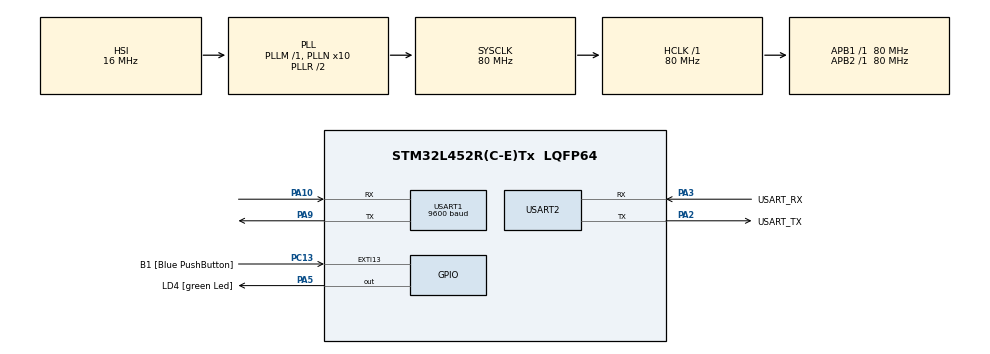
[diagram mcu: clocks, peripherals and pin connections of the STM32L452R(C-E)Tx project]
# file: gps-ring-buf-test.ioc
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Mcu.Family=STM32L4
Mcu.Name=STM32L452R(C-E)Tx
Mcu.Package=LQFP64
NVIC.PriorityGroup=NVIC_PRIORITYGROUP_4
NVIC.USART1_IRQn=true\:0\:0\:false\:false\:true\:true\:true\:true
NVIC.USART2_IRQn=true\:0\:0\:false\:false\:true\:true\:true\:true
PA10.Mode=Asynchronous
PA10.Signal=USART1_RX
PA13\ (JTMS/SWDIO).GPIO_Label=TMS
PA13\ (JTMS/SWDIO).Mode=Serial_Wire
PA13\ (JTMS/SWDIO).Signal=SYS_JTMS-SWDIO
PA14\ (JTCK/SWCLK).GPIO_Label=TCK
PA14\ (JTCK/SWCLK).Mode=Serial_Wire
PA14\ (JTCK/SWCLK).Signal=SYS_JTCK-SWCLK
PA2.GPIO_Label=USART_TX
PA2.GPIO_Mode=GPIO_MODE_AF_PP
PA2.GPIO_PuPd=GPIO_NOPULL
PA2.GPIO_Speed=GPIO_SPEED_FREQ_VERY_HIGH
PA2.Mode=Asynchronous
PA2.Signal=USART2_TX
PA3.GPIO_Label=USART_RX
PA3.GPIO_Mode=GPIO_MODE_AF_PP
PA3.GPIO_PuPd=GPIO_NOPULL
PA3.GPIO_Speed=GPIO_SPEED_FREQ_VERY_HIGH
PA3.Mode=Asynchronous
PA3.Signal=USART2_RX
PA5.GPIO_Label=LD4 [green Led]
PA5.GPIO_ModeDefaultOutputPP=GPIO_MODE_OUTPUT_PP
PA5.GPIO_PuPd=GPIO_NOPULL
PA5.GPIO_Speed=GPIO_SPEED_FREQ_LOW
PA5.Signal=GPIO_Output
PA9.Mode=Asynchronous
PA9.Signal=USART1_TX
PB3\ (JTDO/TRACESWO).GPIO_Label=SWO
PB3\ (JTDO/TRACESWO).Signal=SYS_JTDO-SWO
PC13.GPIO_Label=B1 [Blue PushButton]
PC13.GPIO_ModeDefaultEXTI=GPIO_MODE_IT_FALLING
PC13.GPIO_PuPd=GPIO_NOPULL
PC13.Signal=GPXTI13
PC14-OSC32_IN\ (PC14).Mode=LSE-External-Oscillator
PC14-OSC32_IN\ (PC14).Signal=RCC_OSC32_IN
PC15-OSC32_OUT\ (PC15).Mode=LSE-External-Oscillator
PC15-OSC32_OUT\ (PC15).Signal=RCC_OSC32_OUT
PH0-OSC_IN\ (PH0).Signal=RCC_OSC_IN
PH1-OSC_OUT\ (PH1).Signal=RCC_OSC_OUT
ProjectManager.HeapSize=0x200
ProjectManager.StackSize=0x400
ProjectManager.TargetToolchain=STM32CubeIDE
RCC.ADCFreq_Value=64000000
RCC.AHBFreq_Value=80000000
RCC.APB1Freq_Value=80000000
RCC.APB1TimFreq_Value=80000000
RCC.APB2Freq_Value=80000000
RCC.APB2TimFreq_Value=80000000
RCC.CortexFreq_Value=80000000
RCC.HCLKFreq_Value=80000000
RCC.HSE_VALUE=8000000
RCC.HSI48_VALUE=48000000
RCC.HSI_VALUE=16000000
RCC.MSI_VALUE=4000000
RCC.PLLN=10
RCC.PLLSourceVirtual=RCC_PLLSOURCE_HSI
RCC.PREFETCH_ENABLE=1
RCC.SYSCLKFreq_VALUE=80000000
RCC.SYSCLKSource=RCC_SYSCLKSOURCE_PLLCLK
RCC.USBFreq_Value=64000000
RCC.VCOOutputFreq_Value=160000000
USART1.BaudRate=9600
USART1.VirtualMode-Asynchronous=VM_ASYNC
USART2.VirtualMode-Asynchronous=VM_ASYNC
board=NUCLEO-L452RE

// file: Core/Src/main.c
/* USER CODE BEGIN Header */
/**
  ******************************************************************************
  * @file           : main.c
  * @brief          : Main program body
  ******************************************************************************
  * @attention
  *
  * Copyright (c) 2023 STMicroelectronics.
  * All rights reserved.
  *
  * This software is licensed under terms that can be found in the LICENSE file
  * in the root directory of this software component.
  * If no LICENSE file comes with this software, it is provided AS-IS.
  *
  ******************************************************************************
  * Works - gets GPS data in gpsData struct (see in Live Expressions)
  * Celine Kwan
  */
/* USER CODE END Header */
#include "main.h"

/* USER CODE BEGIN Includes */
#include <stdio.h>
#include <string.h>

#include "uartRingBuffer.h"
#include "NMEA.h"
/* USER CODE END Includes */

UART_HandleTypeDef huart1;
UART_HandleTypeDef huart2;

void SystemClock_Config(void);
static void MX_GPIO_Init(void);
static void MX_USART1_UART_Init(void);
static void MX_USART2_UART_Init(void);

/* USER CODE BEGIN 0 */
char GGA[100];
//char GGA[] = "GGA,092750.000,5321.6802,N,00630.3372,W,1,8,1.03,61.7,M,55.2,M,,*";
char RMC[100];
//char RMC[] = "RMC,092751.000,A,5321.6802,N,00630.3371,W,0.06,31.66,280511,,,A*";

GPSSTRUCT gpsData;

GGASTRUCT *gga = &gpsData.ggastruct;
float lat = 0; // write to EEPROM
float lng = 0;
RMCSTRUCT *rmc = &gpsData.rmcstruct;
int gps_year = 0;
int gps_month = 0;
int gps_day = 0;
int gps_hour = 0;
int gps_minutes = 0;
int gps_seconds = 0;
char print_buf[100] = {0};

/* USER CODE END 0 */

int main(void)
{

  /* MCU Configuration--------------------------------------------------------*/

  /* Reset of all peripherals, Initializes the Flash interface and the Systick. */
  HAL_Init();

  /* Configure the system clock */
  SystemClock_Config();

  /* Initialize all configured peripherals */
  MX_GPIO_Init();
  MX_USART1_UART_Init();
  MX_USART2_UART_Init();
  /* USER CODE BEGIN 2 */
  Ringbuf_init();
//  HAL_Delay(500);
  uint32_t microsReady, microsCurrent; // unsigned long
  microsReady = 30000; // 30s
  int flag = 0;
  /* USER CODE END 2 */

  /* Infinite loop */
  while (1)
  {

    /* USER CODE BEGIN 3 */

//	  ========== Part 1 Code ==================================
	  if (Wait_for("GG") == 1) { // "GPGGA" - need "A" for decodeGGA to work properly
		  Copy_upto("*", GGA); // 1=successful copy
		  decodeGGA(GGA,&gpsData.ggastruct); // 0=fixed; 1=error
	  }

	  if (Wait_for("RM") == 1) { // "GPRMC" - need "C" for decodeRMC to work properly
		  Copy_upto("*", RMC); // 1=successful copy
		  decodeRMC(RMC,&gpsData.rmcstruct); // 0=fixed; 1=error
	  }

	  lat = gga->lcation.latitude;
	  lng = gga->lcation.longitude;

	  gps_year = rmc->date.Yr; /*!< Years. All values are valid */
	  gps_month = rmc->date.Mon; /*!< Months. Valid values : 1 (January) - 12 (December) */
	  gps_day = rmc->date.Day; /*!< Days. Valid values 1 - 28,29,30,31 Depends on month.*/
	  gps_hour = gga->tim.hour; /*!< Hours. Valid values 0 - 23. */
	  gps_minutes = gga->tim.min; /*!< Minutes. Valid values 0 - 59. */
	  gps_seconds = gga->tim.sec; /*!< Seconds. Valid values 0 - 59.99999.... */

	  sprintf(print_buf,"\r\n\n lat/lng: %.4f/%.4f\n mm/dd/yy: %d/%d/%d\n hh/mm/ss: %d/%d/%d",
			  lat,lng,gps_year,gps_month,gps_day,gps_hour,gps_minutes,gps_seconds);
	  HAL_UART_Transmit(&huart2, (uint8_t*)print_buf, sizeof(print_buf),10);

	  microsCurrent = HAL_GetTick();
	  char ready_msg[] = "\r\n *********GPS data is stable and ready for reading.";
	  if ( (microsCurrent >= microsReady) && (flag == 0) ) { // 30s
		  flag = 1;
		  HAL_UART_Transmit(&huart2, (uint8_t*)ready_msg, sizeof(ready_msg), 10);
	  }
	  // check if time is still incrementing

//
//	  HAL_Delay(100);

//	  ========== 1. Wait_for working ==================================
//	  char str1[] = "\r\n Not detected";
//	  char str2[] = "\r\n Detected";
//
//	  if (Wait_for("GGA") == 1) {
//		  HAL_UART_Transmit(&huart2, (uint8_t*)str2, sizeof(str2), 10);
//	  } else {
//		  HAL_UART_Transmit(&huart2, (uint8_t*)str1, sizeof(str1), 10);
//	  }
//
//	  HAL_Delay(100);

//	  ========== 2. decodeGGA and decodeRMC function working ==================================
//		int value_1 = decodeGGA(GGA,&gpsData.ggastruct);
//		int value_2 = decodeRMC(RMC,&gpsData.rmcstruct);
//
//		int value_3 = decodeGGA(GGA,&gpsData.ggastruct);
//		int value_4 = decodeRMC(RMC,&gpsData.rmcstruct);

  }
  /* USER CODE END 3 */
}

void SystemClock_Config(void)
{
  RCC_OscInitTypeDef RCC_OscInitStruct = {0};
  RCC_ClkInitTypeDef RCC_ClkInitStruct = {0};

  /** Configure the main internal regulator output voltage
  */
  if (HAL_PWREx_ControlVoltageScaling(PWR_REGULATOR_VOLTAGE_SCALE1) != HAL_OK)
  {
    Error_Handler();
  }

  /** Initializes the RCC Oscillators according to the specified parameters
  * in the RCC_OscInitTypeDef structure.
  */
  RCC_OscInitStruct.OscillatorType = RCC_OSCILLATORTYPE_HSI;
  RCC_OscInitStruct.HSIState = RCC_HSI_ON;
  RCC_OscInitStruct.HSICalibrationValue = RCC_HSICALIBRATION_DEFAULT;
  RCC_OscInitStruct.PLL.PLLState = RCC_PLL_ON;
  RCC_OscInitStruct.PLL.PLLSource = RCC_PLLSOURCE_HSI;
  RCC_OscInitStruct.PLL.PLLM = 1;
  RCC_OscInitStruct.PLL.PLLN = 10;
  RCC_OscInitStruct.PLL.PLLP = RCC_PLLP_DIV7;
  RCC_OscInitStruct.PLL.PLLQ = RCC_PLLQ_DIV2;
  RCC_OscInitStruct.PLL.PLLR = RCC_PLLR_DIV2;
  if (HAL_RCC_OscConfig(&RCC_OscInitStruct) != HAL_OK)
  {
    Error_Handler();
  }

  /** Initializes the CPU, AHB and APB buses clocks
  */
  RCC_ClkInitStruct.ClockType = RCC_CLOCKTYPE_HCLK|RCC_CLOCKTYPE_SYSCLK
                              |RCC_CLOCKTYPE_PCLK1|RCC_CLOCKTYPE_PCLK2;
  RCC_ClkInitStruct.SYSCLKSource = RCC_SYSCLKSOURCE_PLLCLK;
  RCC_ClkInitStruct.AHBCLKDivider = RCC_SYSCLK_DIV1;
  RCC_ClkInitStruct.APB1CLKDivider = RCC_HCLK_DIV1;
  RCC_ClkInitStruct.APB2CLKDivider = RCC_HCLK_DIV1;

  if (HAL_RCC_ClockConfig(&RCC_ClkInitStruct, FLASH_LATENCY_4) != HAL_OK)
  {
    Error_Handler();
  }
}

static void MX_USART1_UART_Init(void)
{

  huart1.Instance = USART1;
  huart1.Init.BaudRate = 9600;
  huart1.Init.WordLength = UART_WORDLENGTH_8B;
  huart1.Init.StopBits = UART_STOPBITS_1;
  huart1.Init.Parity = UART_PARITY_NONE;
  huart1.Init.Mode = UART_MODE_TX_RX;
  huart1.Init.HwFlowCtl = UART_HWCONTROL_NONE;
  huart1.Init.OverSampling = UART_OVERSAMPLING_16;
  huart1.Init.OneBitSampling = UART_ONE_BIT_SAMPLE_DISABLE;
  huart1.AdvancedInit.AdvFeatureInit = UART_ADVFEATURE_NO_INIT;
  if (HAL_UART_Init(&huart1) != HAL_OK)
  {
    Error_Handler();
  }

}

static void MX_USART2_UART_Init(void)
{

  huart2.Instance = USART2;
  huart2.Init.BaudRate = 115200;
  huart2.Init.WordLength = UART_WORDLENGTH_8B;
  huart2.Init.StopBits = UART_STOPBITS_1;
  huart2.Init.Parity = UART_PARITY_NONE;
  huart2.Init.Mode = UART_MODE_TX_RX;
  huart2.Init.HwFlowCtl = UART_HWCONTROL_NONE;
  huart2.Init.OverSampling = UART_OVERSAMPLING_16;
  huart2.Init.OneBitSampling = UART_ONE_BIT_SAMPLE_DISABLE;
  huart2.AdvancedInit.AdvFeatureInit = UART_ADVFEATURE_NO_INIT;
  if (HAL_UART_Init(&huart2) != HAL_OK)
  {
    Error_Handler();
  }

}

static void MX_GPIO_Init(void)
{
  GPIO_InitTypeDef GPIO_InitStruct = {0};

  /* GPIO Ports Clock Enable */
  __HAL_RCC_GPIOC_CLK_ENABLE();
  __HAL_RCC_GPIOH_CLK_ENABLE();
  __HAL_RCC_GPIOA_CLK_ENABLE();
  __HAL_RCC_GPIOB_CLK_ENABLE();

  /*Configure GPIO pin Output Level */
  HAL_GPIO_WritePin(LD4_GPIO_Port, LD4_Pin, GPIO_PIN_RESET);

  /*Configure GPIO pin : B1_Pin */
  GPIO_InitStruct.Pin = B1_Pin;
  GPIO_InitStruct.Mode = GPIO_MODE_IT_FALLING;
  GPIO_InitStruct.Pull = GPIO_NOPULL;
  HAL_GPIO_Init(B1_GPIO_Port, &GPIO_InitStruct);

  /*Configure GPIO pin : LD4_Pin */
  GPIO_InitStruct.Pin = LD4_Pin;
  GPIO_InitStruct.Mode = GPIO_MODE_OUTPUT_PP;
  GPIO_InitStruct.Pull = GPIO_NOPULL;
  GPIO_InitStruct.Speed = GPIO_SPEED_FREQ_LOW;
  HAL_GPIO_Init(LD4_GPIO_Port, &GPIO_InitStruct);

}

void Error_Handler(void)
{
  __disable_irq();
  while (1)
  {
  }
}
